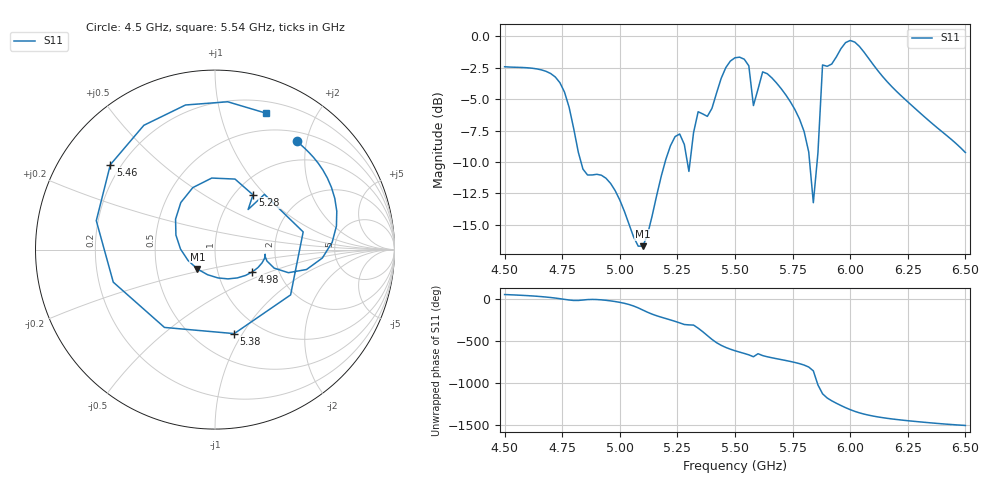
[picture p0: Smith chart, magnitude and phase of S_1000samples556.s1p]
! TOUCHSTONE file generated by CST MICROWAVE STUDIO
! Date and time: Fri Oct 28 14:12:00 2022
! Project name: L.cst
! Parameters = {Di=1.27; Epsilon_r=1.56; InnerDiameter=1.27; Length=2; Lf=10; Lg=60; OuterConductorThickness=0.2921; OuterDiameter=3.6; Wf=3; Wp=41.2; de=1.5; df=6.8; g=0.8; gx=1.34699; gy=0.993595; h=2.34; hf=1.524; px=10.1559; py=14.986; w=9.7; wx=8.80892; wy=13.9924}
! Header version: 2018
! Port assignment regex: !\s*Touchstone port\s*([0-9]+)\s*=\s*(CST MWS port|CST DS port)\s*([0-9]+|Zmin|Zmax)\s*\(\"(.*)\"\)(\s*mode\s*([0-9]+))?.*
! Touchstone port assignment:
! Touchstone port 1 = CST MWS port 1 ("")
# GHz S DB R 50
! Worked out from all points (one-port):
!   101 points, 4.5 GHz to 6.5 GHz, reference 50 ohm
!   lowest |S11| = -16.7 dB at 5.1 GHz (marker M1), VSWR 1.34, Z = 40.2 - j8.86 ohm
!   |S11| at or under -10 dB: 4.831 GHz to 5.197 GHz (365.4 MHz wide, 7.29 % of centre); 5.29295 GHz to 5.304933 GHz (11.98 MHz wide, 0.226 % of centre); 5.824 GHz to 5.856 GHz (32.47 MHz wide, 0.556 % of centre)
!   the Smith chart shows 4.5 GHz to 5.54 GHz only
!   S11 on the Smith chart (normalised r, x): 4.5 GHz: 0.64, +1.82; 4.98 GHz: 1.47, -0.39; 5.28 GHz: 1.21, +0.85; 5.38 GHz: 0.76, -0.92; 5.46 GHz: 0.16, +0.35; 5.54 GHz: 0.31, +1.40
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4.5  -2.42 53.1
4.76  -4.44 -4.5
4.98  -12.29 -30.7
5  -13.04 -40.2
5.1  -16.72 -132.3
5.18  -11.13 142.3
5.26  -7.78 74.2
5.28  -8.61 55.2
5.34  -6.00 11.3
5.38  -6.37 -77.1
5.42  -4.51 -162.3
5.46  -2.49 140.9
5.5  -1.70 101.5
5.54  -1.81 69.4
5.58  -5.51 29.8
5.6  -4.20 66.0
5.66  -3.30 17.6
5.76  -5.83 -38.7
5.84  -13.25 -139.0
5.86  -9.28 52.8
5.88  -2.27 -52.8
5.9  -2.38 -103.1
5.96  -0.97 166.6
6  -0.32 117.6
6.04  -0.80 79.4
6.1  -2.25 40.5
6.26  -5.38 -17.4
6.5  -9.25 -71.4
